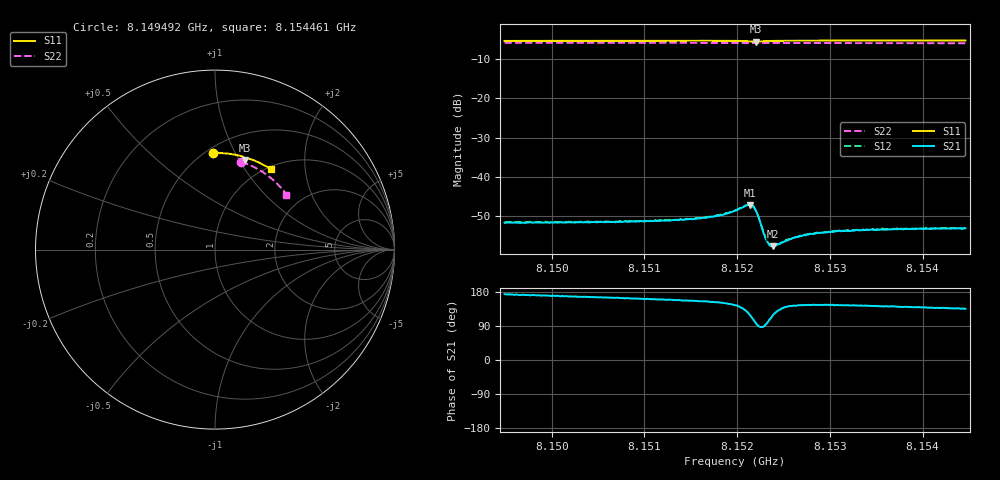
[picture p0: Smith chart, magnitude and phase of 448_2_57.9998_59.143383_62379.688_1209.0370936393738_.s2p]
#  HZ  S  RI  R  50.00
! Rohde & Schwarz Vector Network Analyzer
! Rohde-Schwarz,ZNB20-2Port,1311601062101988,3.16
! Created: UTC 3/21/2024, 1:10:20 AM
! freq[Hz]  re:S11  im:S11  re:S21  im:S21  re:S12  im:S12  re:S22  im:S22
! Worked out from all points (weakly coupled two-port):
!   401 points, 8.149492 GHz to 8.154461 GHz, reference 50 ohm
!   highest |S21| = -47.08 dB at 8.152138 GHz (marker M1); lowest = -57.6 dB at 8.152387 GHz (marker M2)
!   lowest |S11| = -5.6 dB at 8.1522 GHz (marker M3), VSWR 3.23, Z = 38.4 + j53.1 ohm
!   |S11| at or under -10 dB: nowhere
!   |S22| runs from -6.0 to -5.8 dB; largest |S21 - S12| = 0.00013
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8.149492e9  -0.011 0.5374  -0.00259 0.000284  -0.00267 0.000355  0.1468 0.4887
8.1503244e9  0.0472 0.5368  -0.00258 0.00062  -0.00261 0.000689  0.1969 0.4696
8.1511568e9  0.1049 0.5299  -0.00259 0.000951  -0.00262 0.00102  0.2443 0.4453
8.1516537e9  0.1399 0.5223  -0.00274 0.00129  -0.00274 0.00139  0.2711 0.4286
8.1518277e9  0.1525 0.5184  -0.00287 0.00159  -0.0029 0.00164  0.2804 0.4223
8.1519767e9  0.1636 0.5134  -0.00304 0.00217  -0.00306 0.00219  0.288 0.4166
8.1520885e9  0.1712 0.5061  -0.00282 0.00321  -0.00286 0.00329  0.2938 0.4121
8.1521382e9  0.1718 0.5015  -0.00212 0.00389  -0.0021 0.00394  0.2962 0.4102
8.1521755e9  0.1701 0.4992  -0.00114 0.004  -0.00111 0.00408  0.2979 0.4089
8.1522004e9  0.1681 0.4994  -0.000479 0.00373  -0.000427 0.00378  0.2989 0.4079
8.1522252e9  0.1671 0.501  -4.5e-05 0.00321  2.89e-06 0.00324  0.3001 0.4072
8.1522749e9  0.1688 0.505  0.000104 0.00212  0.000108 0.00214  0.3026 0.4053
8.1523122e9  0.1718 0.5068  -0.000129 0.00161  -9.01e-05 0.00163  0.3046 0.404
8.1523494e9  0.1753 0.5076  -0.000399 0.00129  -0.00039 0.00132  0.3064 0.4026
8.1523867e9  0.1786 0.5079  -0.000639 0.00115  -0.000614 0.00117  0.3083 0.4012
8.1524364e9  0.1829 0.5077  -0.00089 0.00108  -0.00086 0.00108  0.3109 0.3991
8.1525358e9  0.1909 0.506  -0.0012 0.000994  -0.00121 0.00106  0.3156 0.395
8.1526228e9  0.1974 0.5041  -0.00138 0.00102  -0.00134 0.00103  0.32 0.3916
8.1528091e9  0.2103 0.4997  -0.00154 0.00108  -0.00154 0.00111  0.3288 0.3837
8.15307e9  0.2277 0.4927  -0.00168 0.00119  -0.00167 0.00121  0.341 0.3725
8.1536415e9  0.2639 0.4756  -0.00169 0.00136  -0.00169 0.00134  0.366 0.3466
8.1544614e9  0.3126 0.4464  -0.00159 0.00157  -0.0016 0.00158  0.3983 0.3064
